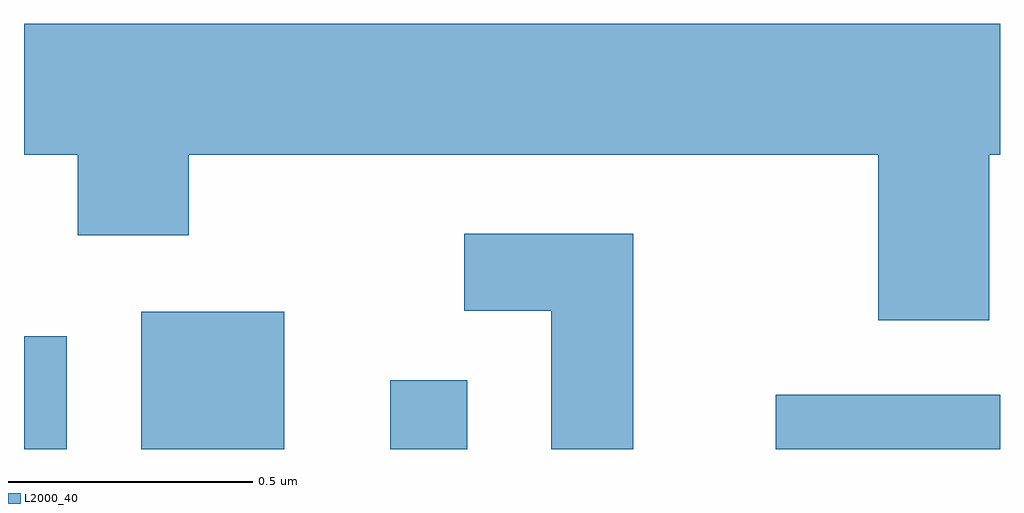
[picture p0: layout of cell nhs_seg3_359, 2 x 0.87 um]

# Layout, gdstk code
import gdstk
lib = gdstk.Library(unit=1e-6, precision=1e-09)
def R(c, l, rs):  # rectangles x0, y0, x1, y1
    for r in rs: c.add(gdstk.rectangle(r[:2], r[2:], *l))
def P(c, l, *ps):  # polygons
    for p in ps: c.add(gdstk.Polygon(p, *l))
L2000_40 = (2000, 40)

nhs_seg3_359 = lib.new_cell('nhs_seg3_359')
R(nhs_seg3_359, L2000_40, [(187.611,1200.892,187.699,1201.124), (187.851,1200.892,188.144,1201.174), (188.361,1200.892,188.519,1201.033), (189.151,1200.892,189.611,1201.004)])
P(nhs_seg3_359, L2000_40, [(189.589,1201.496),(189.611,1201.496),(189.611,1201.764),(187.611,1201.764),(187.611,1201.496),(187.721,1201.496),(187.721,1201.331),(187.949,1201.331),(187.949,1201.496),(189.361,1201.496),(189.361,1201.156),(189.589,1201.156)],
  [(188.859,1201.334),(188.513,1201.334),(188.513,1201.176),(188.691,1201.176),(188.691,1200.892),(188.859,1200.892)])

lib.write_gds('nhs_seg3_359.gds')
